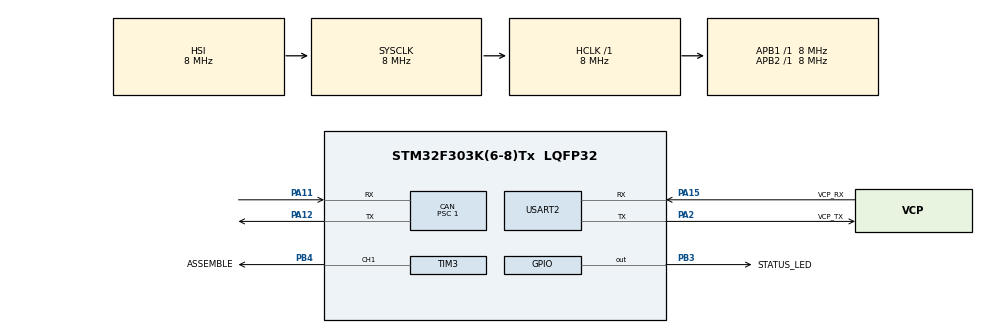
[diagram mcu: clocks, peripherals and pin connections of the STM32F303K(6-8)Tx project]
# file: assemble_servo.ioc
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CAN.BS1=CAN_BS1_6TQ
CAN.CalculateBaudRate=1000000
CAN.CalculateTimeBit=1000
CAN.CalculateTimeQuantum=125.0
CAN.Prescaler=1
Mcu.Family=STM32F3
Mcu.Name=STM32F303K(6-8)Tx
Mcu.Package=LQFP32
NVIC.CAN_RX0_IRQn=true\:0\:0\:false\:false\:true\:true\:true\:true
NVIC.PriorityGroup=NVIC_PRIORITYGROUP_4
PA11.Mode=CAN_Activate
PA11.Signal=CAN_RX
PA12.Mode=CAN_Activate
PA12.Signal=CAN_TX
PA13.GPIO_Label=SWDIO
PA13.Mode=Serial_Wire
PA13.Signal=SYS_JTMS-SWDIO
PA14.GPIO_Label=SWCLK
PA14.Mode=Serial_Wire
PA14.Signal=SYS_JTCK-SWCLK
PA15.GPIO_Label=VCP_RX
PA15.Mode=Asynchronous
PA15.Signal=USART2_RX
PA2.GPIO_Label=VCP_TX
PA2.Mode=Asynchronous
PA2.Signal=USART2_TX
PB3.GPIO_Label=STATUS_LED
PB3.Signal=GPIO_Output
PB4.GPIO_Label=ASSEMBLE
PB4.Signal=S_TIM3_CH1
PF0\ /\ OSC_IN.GPIO_Label=MCO
PF0\ /\ OSC_IN.Mode=HSE-External-Clock-Source
PF0\ /\ OSC_IN.Signal=RCC_OSC_IN
ProjectManager.HeapSize=0x200
ProjectManager.StackSize=0x400
ProjectManager.TargetToolchain=CMake
RCC.AHBFreq_Value=8000000
RCC.APB1Freq_Value=8000000
RCC.APB2Freq_Value=8000000
RCC.CortexFreq_Value=8000000
RCC.HSE_VALUE=8000000
RCC.HSI_VALUE=8000000
RCC.SYSCLKFreq_VALUE=8000000
SH.S_TIM3_CH1.0=TIM3_CH1,PWM Generation1 CH1
TIM3.Channel-PWM\ Generation1\ CH1=TIM_CHANNEL_1
TIM3.Period=20000-1
TIM3.Prescaler=8-1
USART2.VirtualMode-Asynchronous=VM_ASYNC
VP_TIM3_VS_ClockSourceINT.Mode=Internal
board=NUCLEO-F303K8

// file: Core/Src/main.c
/* USER CODE BEGIN Header */
/**
  ******************************************************************************
  * @file           : main.c
  * @brief          : Main program body
  ******************************************************************************
  * @attention
  *
  * Copyright (c) 2026 STMicroelectronics.
  * All rights reserved.
  *
  * This software is licensed under terms that can be found in the LICENSE file
  * in the root directory of this software component.
  * If no LICENSE file comes with this software, it is provided AS-IS.
  *
  ******************************************************************************
  */
/* USER CODE END Header */
#include "main.h"
#include "can_protocol.h"
#include "stm_can.h"

/* USER CODE BEGIN PD */
#define SERVO_0   500
#define SERVO_270 2500
#define SERVO_DEG_RANGE 270 //サーボの角度(0-270deg)とパルス幅(SERVO_0-SERVO_270)の換算に使う定数

#define STATUS_LED_BLINK_MS 200 //異常時のLED点滅間隔
/* USER CODE END PD */

CAN_HandleTypeDef hcan;

TIM_HandleTypeDef htim3;

UART_HandleTypeDef huart2;

/* USER CODE BEGIN PV */
volatile uint8_t can_bus_error = 0; //CANバスエラーを検知したら立てる(一度立ったらラッチ)
/* USER CODE END PV */

void SystemClock_Config(void);
static void MX_GPIO_Init(void);
static void MX_CAN_Init(void);
static void MX_TIM3_Init(void);
static void MX_USART2_UART_Init(void);

/* USER CODE BEGIN 0 */
void HAL_CAN_RxFifo0MsgPendingCallback(CAN_HandleTypeDef *hcan){
  CAN_RxHeaderTypeDef rx_header;
  can_data_t rx_data = {0};
  if(hcan->Instance != CAN)return;
  if(HAL_CAN_GetRxMessage(hcan,CAN_RX_FIFO0,&rx_header,rx_data.raw) != HAL_OK)return;

  switch (rx_header.StdId) {
  case CAN_ID_ASSEMBLE_COMMAND: {
    assemble_deg_t deg = rx_data.assemble_deg;
    if(deg > ASSEMBLE_DEG_RANGE) deg = ASSEMBLE_DEG_RANGE; //機構の可動域(0-90度)にクランプ
    __HAL_TIM_SET_COMPARE(&ASSEMBLE_htim,ASSEMBLE_TIM_CHANNEL,
      (uint16_t)((double)deg / SERVO_DEG_RANGE * (SERVO_270 - SERVO_0) + SERVO_0));
    break;
  }
  default:
    break;
  }
}
/* USER CODE END 0 */

int main(void)
{

  /* MCU Configuration--------------------------------------------------------*/

  /* Reset of all peripherals, Initializes the Flash interface and the Systick. */
  HAL_Init();

  /* Configure the system clock */
  SystemClock_Config();

  /* Initialize all configured peripherals */
  MX_GPIO_Init();
  MX_CAN_Init();
  MX_TIM3_Init();
  MX_USART2_UART_Init();
  /* USER CODE BEGIN 2 */
  HAL_CAN_Start(&hcan);
  if (HAL_CAN_ActivateNotification(&hcan,CAN_IT_RX_FIFO0_MSG_PENDING) != HAL_OK) {
    Error_Handler();
  }
  HAL_TIM_PWM_Start(&ASSEMBLE_htim, ASSEMBLE_TIM_CHANNEL);
  __HAL_TIM_SET_COMPARE(&ASSEMBLE_htim, ASSEMBLE_TIM_CHANNEL, SERVO_0);
  uint32_t status_led_last_toggle = HAL_GetTick();
  /* USER CODE END 2 */

  /* Infinite loop */
  while (1)
  {

    /* USER CODE BEGIN 3 */
    //CANバスエラー(バスオフ/エラーパッシブ/エラーワーニング)を検知したらラッチする
    if(__HAL_CAN_GET_FLAG(&hcan, CAN_FLAG_BOF) ||
       __HAL_CAN_GET_FLAG(&hcan, CAN_FLAG_EPV) ||
       __HAL_CAN_GET_FLAG(&hcan, CAN_FLAG_EWG)){
      can_bus_error = 1;
    }

    if(can_bus_error){
      //異常時: 点滅
      uint32_t now = HAL_GetTick();
      if(now - status_led_last_toggle >= STATUS_LED_BLINK_MS){
        status_led_last_toggle = now;
        HAL_GPIO_TogglePin(STATUS_LED_GPIO_Port, STATUS_LED_Pin);
      }
    }else{
      //正常動作中: 点灯
      HAL_GPIO_WritePin(STATUS_LED_GPIO_Port, STATUS_LED_Pin, GPIO_PIN_SET);
    }
  }
  /* USER CODE END 3 */
}

void SystemClock_Config(void)
{
  RCC_OscInitTypeDef RCC_OscInitStruct = {0};
  RCC_ClkInitTypeDef RCC_ClkInitStruct = {0};

  /** Initializes the RCC Oscillators according to the specified parameters
  * in the RCC_OscInitTypeDef structure.
  */
  RCC_OscInitStruct.OscillatorType = RCC_OSCILLATORTYPE_HSI;
  RCC_OscInitStruct.HSIState = RCC_HSI_ON;
  RCC_OscInitStruct.HSICalibrationValue = RCC_HSICALIBRATION_DEFAULT;
  RCC_OscInitStruct.PLL.PLLState = RCC_PLL_NONE;
  if (HAL_RCC_OscConfig(&RCC_OscInitStruct) != HAL_OK)
  {
    Error_Handler();
  }

  /** Initializes the CPU, AHB and APB buses clocks
  */
  RCC_ClkInitStruct.ClockType = RCC_CLOCKTYPE_HCLK|RCC_CLOCKTYPE_SYSCLK
                              |RCC_CLOCKTYPE_PCLK1|RCC_CLOCKTYPE_PCLK2;
  RCC_ClkInitStruct.SYSCLKSource = RCC_SYSCLKSOURCE_HSI;
  RCC_ClkInitStruct.AHBCLKDivider = RCC_SYSCLK_DIV1;
  RCC_ClkInitStruct.APB1CLKDivider = RCC_HCLK_DIV1;
  RCC_ClkInitStruct.APB2CLKDivider = RCC_HCLK_DIV1;

  if (HAL_RCC_ClockConfig(&RCC_ClkInitStruct, FLASH_LATENCY_0) != HAL_OK)
  {
    Error_Handler();
  }
}

static void MX_CAN_Init(void)
{

  hcan.Instance = CAN;
  hcan.Init.Prescaler = 1;
  hcan.Init.Mode = CAN_MODE_NORMAL;
  hcan.Init.SyncJumpWidth = CAN_SJW_1TQ;
  hcan.Init.TimeSeg1 = CAN_BS1_6TQ;
  hcan.Init.TimeSeg2 = CAN_BS2_1TQ;
  hcan.Init.TimeTriggeredMode = DISABLE;
  hcan.Init.AutoBusOff = DISABLE;
  hcan.Init.AutoWakeUp = DISABLE;
  hcan.Init.AutoRetransmission = DISABLE;
  hcan.Init.ReceiveFifoLocked = DISABLE;
  hcan.Init.TransmitFifoPriority = DISABLE;
  if (HAL_CAN_Init(&hcan) != HAL_OK)
  {
    Error_Handler();
  }
  /* USER CODE BEGIN CAN_Init 2 */
  CAN_FilterTypeDef filter;

  filter.FilterBank = 0;
  filter.FilterMode = CAN_FILTERMODE_IDMASK;
  filter.FilterScale = CAN_FILTERSCALE_32BIT;

  /* 受信IDフィルター　全受信 */
  filter.FilterIdHigh = 0x0000;
  filter.FilterIdLow = 0x0000;
  filter.FilterMaskIdHigh = 0x0000;
  filter.FilterMaskIdLow = 0x0000;

  filter.FilterFIFOAssignment = CAN_RX_FIFO0; //fifo(first-in first-out) = Queue
  filter.FilterActivation = ENABLE;

  if (HAL_CAN_ConfigFilter(&hcan, &filter) != HAL_OK) {
      Error_Handler();
  }
  /* USER CODE END CAN_Init 2 */

}

static void MX_TIM3_Init(void)
{

  TIM_ClockConfigTypeDef sClockSourceConfig = {0};
  TIM_MasterConfigTypeDef sMasterConfig = {0};
  TIM_OC_InitTypeDef sConfigOC = {0};

  htim3.Instance = TIM3;
  htim3.Init.Prescaler = 8-1;
  htim3.Init.CounterMode = TIM_COUNTERMODE_UP;
  htim3.Init.Period = 20000-1;
  htim3.Init.ClockDivision = TIM_CLOCKDIVISION_DIV1;
  htim3.Init.AutoReloadPreload = TIM_AUTORELOAD_PRELOAD_DISABLE;
  if (HAL_TIM_Base_Init(&htim3) != HAL_OK)
  {
    Error_Handler();
  }
  sClockSourceConfig.ClockSource = TIM_CLOCKSOURCE_INTERNAL;
  if (HAL_TIM_ConfigClockSource(&htim3, &sClockSourceConfig) != HAL_OK)
  {
    Error_Handler();
  }
  if (HAL_TIM_PWM_Init(&htim3) != HAL_OK)
  {
    Error_Handler();
  }
  sMasterConfig.MasterOutputTrigger = TIM_TRGO_RESET;
  sMasterConfig.MasterSlaveMode = TIM_MASTERSLAVEMODE_DISABLE;
  if (HAL_TIMEx_MasterConfigSynchronization(&htim3, &sMasterConfig) != HAL_OK)
  {
    Error_Handler();
  }
  sConfigOC.OCMode = TIM_OCMODE_PWM1;
  sConfigOC.Pulse = 0;
  sConfigOC.OCPolarity = TIM_OCPOLARITY_HIGH;
  sConfigOC.OCFastMode = TIM_OCFAST_DISABLE;
  if (HAL_TIM_PWM_ConfigChannel(&htim3, &sConfigOC, TIM_CHANNEL_1) != HAL_OK)
  {
    Error_Handler();
  }
  HAL_TIM_MspPostInit(&htim3);

}

static void MX_USART2_UART_Init(void)
{

  huart2.Instance = USART2;
  huart2.Init.BaudRate = 38400;
  huart2.Init.WordLength = UART_WORDLENGTH_8B;
  huart2.Init.StopBits = UART_STOPBITS_1;
  huart2.Init.Parity = UART_PARITY_NONE;
  huart2.Init.Mode = UART_MODE_TX_RX;
  huart2.Init.HwFlowCtl = UART_HWCONTROL_NONE;
  huart2.Init.OverSampling = UART_OVERSAMPLING_16;
  huart2.Init.OneBitSampling = UART_ONE_BIT_SAMPLE_DISABLE;
  huart2.AdvancedInit.AdvFeatureInit = UART_ADVFEATURE_NO_INIT;
  if (HAL_UART_Init(&huart2) != HAL_OK)
  {
    Error_Handler();
  }

}

static void MX_GPIO_Init(void)
{
  GPIO_InitTypeDef GPIO_InitStruct = {0};

  /* GPIO Ports Clock Enable */
  __HAL_RCC_GPIOF_CLK_ENABLE();
  __HAL_RCC_GPIOA_CLK_ENABLE();
  __HAL_RCC_GPIOB_CLK_ENABLE();

  /*Configure GPIO pin Output Level */
  HAL_GPIO_WritePin(STATUS_LED_GPIO_Port, STATUS_LED_Pin, GPIO_PIN_RESET);

  /*Configure GPIO pin : STATUS_LED_Pin */
  GPIO_InitStruct.Pin = STATUS_LED_Pin;
  GPIO_InitStruct.Mode = GPIO_MODE_OUTPUT_PP;
  GPIO_InitStruct.Pull = GPIO_NOPULL;
  GPIO_InitStruct.Speed = GPIO_SPEED_FREQ_LOW;
  HAL_GPIO_Init(STATUS_LED_GPIO_Port, &GPIO_InitStruct);

}

void Error_Handler(void)
{
  /* USER CODE BEGIN Error_Handler_Debug */
  /* User can add his own implementation to report the HAL error return state */
  __disable_irq();
  //初期化失敗などで動作不能になった場合: 割り込みが止まりHAL_GetTick()が進まないため，
  //ソフトウェアループでLEDを点滅させる
  while (1)
  {
    HAL_GPIO_TogglePin(STATUS_LED_GPIO_Port, STATUS_LED_Pin);
    for(volatile uint32_t i = 0; i < 400000; i++){}
  }
  /* USER CODE END Error_Handler_Debug */
}
